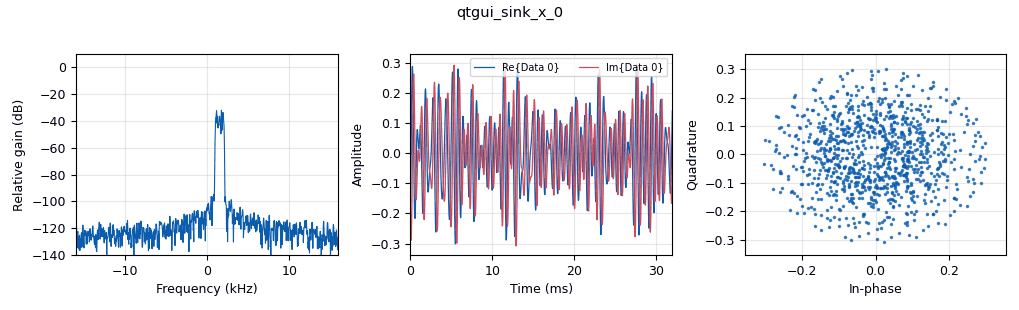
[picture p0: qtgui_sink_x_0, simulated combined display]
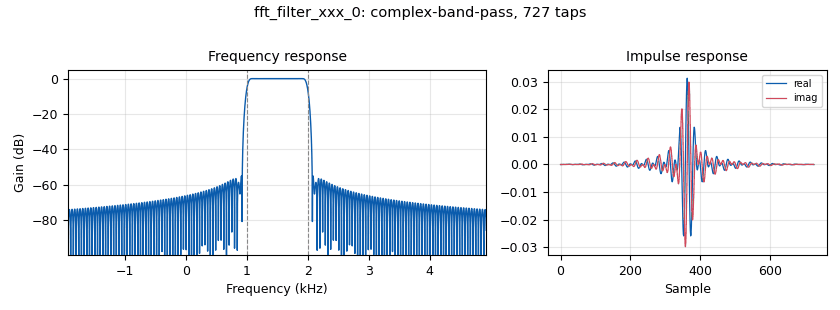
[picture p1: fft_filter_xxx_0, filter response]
<?xml version='1.0' encoding='utf-8'?>
<?grc format='1' created='3.7.8'?>
<flow_graph>
<block>
<key>options</key>
<param><key>id</key><value>tst_noise</value></param>
<param><key>category</key><value>Custom</value></param>
<param><key>generate_options</key><value>qt_gui</value></param>
</block>
<block>
<key>variable_qtgui_range</key>
<param><key>id</key><value>attenuation</value></param>
<param><key>value</key><value>50</value></param>
<param><key>orient</key><value>Qt.Horizontal</value></param>
<param><key>start</key><value>0</value></param>
<param><key>step</key><value>1</value></param>
<param><key>stop</key><value>100</value></param>
</block>
<block>
<key>variable_qtgui_range</key>
<param><key>id</key><value>gain</value></param>
<param><key>value</key><value>1</value></param>
<param><key>orient</key><value>Qt.Horizontal</value></param>
<param><key>start</key><value>0</value></param>
<param><key>step</key><value>0.1</value></param>
<param><key>stop</key><value>10</value></param>
</block>
<block>
<key>variable_qtgui_range</key>
<param><key>id</key><value>high_cutoff</value></param>
<param><key>value</key><value>2e3</value></param>
<param><key>label</key><value>High Cutoff</value></param>
<param><key>orient</key><value>Qt.Horizontal</value></param>
<param><key>start</key><value>-samp_rate/2.</value></param>
<param><key>step</key><value>10</value></param>
<param><key>stop</key><value>samp_rate/2.</value></param>
</block>
<block>
<key>variable_qtgui_label</key>
<param><key>id</key><value>len_taps</value></param>
<param><key>value</key><value>len(taps)</value></param>
<param><key>gui_hint</key><value>2,0,1,1</value></param>
<param><key>label</key><value>Len taps</value></param>
<param><key>type</key><value>int</value></param>
</block>
<block>
<key>variable_qtgui_range</key>
<param><key>id</key><value>low_cutoff</value></param>
<param><key>value</key><value>1000</value></param>
<param><key>label</key><value>Low Cutoff</value></param>
<param><key>orient</key><value>Qt.Horizontal</value></param>
<param><key>start</key><value>-samp_rate/2.</value></param>
<param><key>step</key><value>10</value></param>
<param><key>stop</key><value>samp_rate/2.</value></param>
</block>
<block>
<key>variable</key>
<param><key>id</key><value>samp_rate</value></param>
<param><key>value</key><value>32000</value></param>
</block>
<block>
<key>variable</key>
<param><key>id</key><value>taps</value></param>
<param><key>value</key><value>firdes.complex_band_pass_2(gain, samp_rate, low_cutoff, high_cutoff, transition, attenuation)</value></param>
</block>
<block>
<key>variable_qtgui_range</key>
<param><key>id</key><value>transition</value></param>
<param><key>value</key><value>100</value></param>
<param><key>orient</key><value>Qt.Horizontal</value></param>
<param><key>start</key><value>50</value></param>
<param><key>step</key><value>10</value></param>
<param><key>stop</key><value>500</value></param>
</block>
<block>
<key>analog_noise_source_x</key>
<param><key>id</key><value>analog_noise_source_x_0</value></param>
<param><key>amp</key><value>1</value></param>
<param><key>noise_type</key><value>analog.GR_GAUSSIAN</value></param>
<param><key>type</key><value>complex</value></param>
<param><key>seed</key><value>0</value></param>
</block>
<block>
<key>blocks_throttle</key>
<param><key>id</key><value>blocks_throttle_0</value></param>
<param><key>samples_per_second</key><value>samp_rate</value></param>
<param><key>type</key><value>complex</value></param>
</block>
<block>
<key>fft_filter_xxx</key>
<param><key>id</key><value>fft_filter_xxx_0</value></param>
<param><key>decim</key><value>1</value></param>
<param><key>taps</key><value>taps</value></param>
<param><key>type</key><value>ccc</value></param>
</block>
<block>
<key>import</key>
<param><key>id</key><value>import_0</value></param>
<param><key>import</key><value>from gnuradio.filter import firdes</value></param>
</block>
<block>
<key>qtgui_sink_x</key>
<param><key>id</key><value>qtgui_sink_x_0</value></param>
<param><key>bw</key><value>samp_rate</value></param>
<param><key>fc</key><value>0</value></param>
<param><key>freqchangevar</key><value>None</value></param>
<param><key>fftsize</key><value>1024</value></param>
<param><key>gui_hint</key><value>1,0,1,1</value></param>
<param><key>showports</key><value>True</value></param>
<param><key>type</key><value>complex</value></param>
<param><key>wintype</key><value>firdes.WIN_BLACKMAN_hARRIS</value></param>
</block>
<connection><source_block_id>analog_noise_source_x_0</source_block_id><sink_block_id>blocks_throttle_0</sink_block_id><source_key>0</source_key><sink_key>0</sink_key></connection>
<connection><source_block_id>blocks_throttle_0</source_block_id><sink_block_id>fft_filter_xxx_0</sink_block_id><source_key>0</source_key><sink_key>0</sink_key></connection>
<connection><source_block_id>fft_filter_xxx_0</source_block_id><sink_block_id>qtgui_sink_x_0</sink_block_id><source_key>0</source_key><sink_key>0</sink_key></connection>
</flow_graph>
